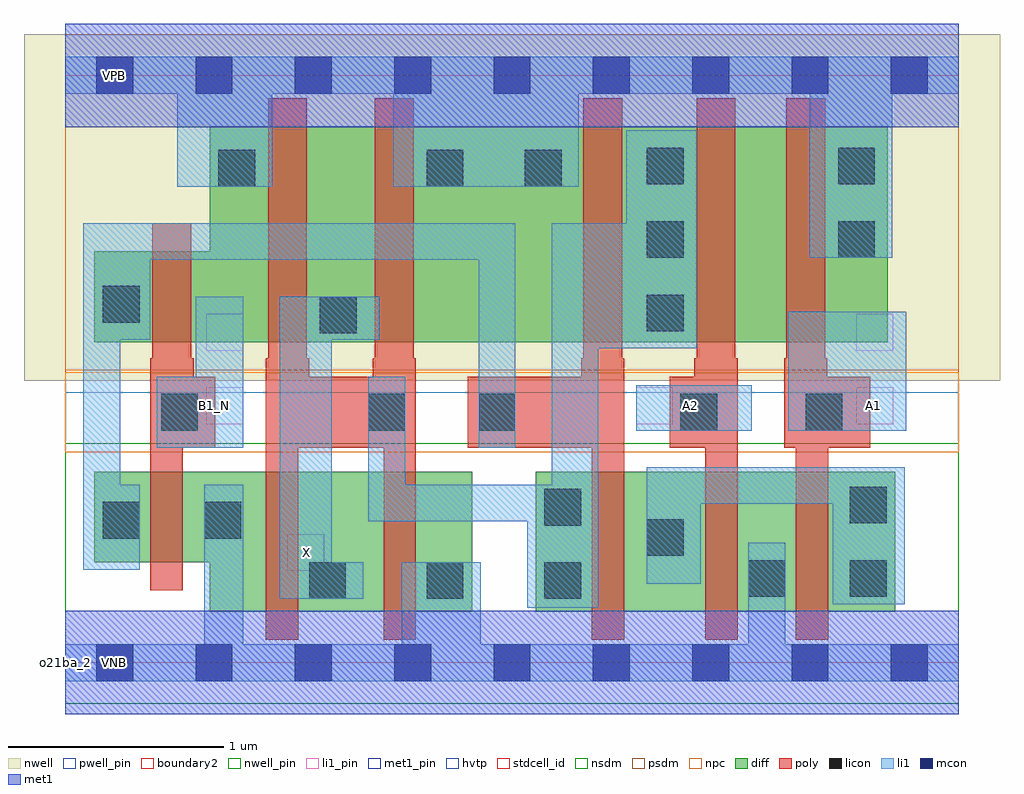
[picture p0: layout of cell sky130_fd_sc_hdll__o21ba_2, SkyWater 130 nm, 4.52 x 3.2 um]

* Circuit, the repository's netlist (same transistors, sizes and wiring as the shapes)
* Copyright 2020 The SkyWater PDK Authors
*
* Licensed under the Apache License, Version 2.0 (the "License");
* you may not use this file except in compliance with the License.
* You may obtain a copy of the License at
*
*     https://www.apache.org/licenses/LICENSE-2.0
*
* Unless required by applicable law or agreed to in writing, software
* distributed under the License is distributed on an "AS IS" BASIS,
* WITHOUT WARRANTIES OR CONDITIONS OF ANY KIND, either express or implied.
* See the License for the specific language governing permissions and
* limitations under the License.
*
* SPDX-License-Identifier: Apache-2.0

.SUBCKT sky130_fd_sc_hdll__o21ba_2 A1 A2 B1_N VGND VNB VPB VPWR X
*.PININFO A1:I A2:I B1_N:I VGND:I VNB:I VPB:I VPWR:I X:O
MMPA0 VPWR A1 sndA1 VPB sky130_fd_pr__pfet_01v8_hvt m=1 w=1.0U l=0.18U mult=1 sa=0.265
+ sb=0.265 sd=0.28 area=0.063 perim=1.14
MMPA1 sndA1 A2 y VPB sky130_fd_pr__pfet_01v8_hvt m=1 w=1.0U l=0.18U mult=1 sa=0.265
+ sb=0.265 sd=0.28 area=0.063 perim=1.14
MMPB0 VPWR B1 y VPB sky130_fd_pr__pfet_01v8_hvt m=1 w=1.0U l=0.18U mult=1 sa=0.265
+ sb=0.265 sd=0.28 area=0.063 perim=1.14
MMIPB1N B1 B1_N VPWR VPB sky130_fd_pr__pfet_01v8_hvt m=1 w=0.42U l=0.18U mult=1
+ sa=0.265 sb=0.265 sd=0.28 area=0.063 perim=1.14
MMIPX X y VPWR VPB sky130_fd_pr__pfet_01v8_hvt m=2 w=1.0U l=0.18U mult=1 sa=0.265
+ sb=0.265 sd=0.28 area=0.063 perim=1.14
MMNA0 pndA A1 VGND VNB sky130_fd_pr__nfet_01v8 m=1 w=0.65U l=0.15U mult=1 sa=0.265
+ sb=0.265 sd=0.28 area=0.063 perim=1.14
MMNA1 pndA A2 VGND VNB sky130_fd_pr__nfet_01v8 m=1 w=0.65U l=0.15U mult=1 sa=0.265
+ sb=0.265 sd=0.28 area=0.063 perim=1.14
MMNB0 y B1 pndA VNB sky130_fd_pr__nfet_01v8 m=1 w=0.65U l=0.15U mult=1 sa=0.265
+ sb=0.265 sd=0.28 area=0.063 perim=1.14
MMINB1N B1 B1_N VGND VNB sky130_fd_pr__nfet_01v8 m=1 w=0.42U l=0.15U mult=1 sa=0.265
+ sb=0.265 sd=0.28 area=0.063 perim=1.14
MMINX X y VGND VNB sky130_fd_pr__nfet_01v8 m=2 w=0.65U l=0.15U mult=1 sa=0.265
+ sb=0.265 sd=0.28 area=0.063 perim=1.14
.ENDS sky130_fd_sc_hdll__o21ba_2

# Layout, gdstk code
import gdstk
lib = gdstk.Library(unit=1e-6, precision=1e-09)
def R(c, l, rs):  # rectangles x0, y0, x1, y1
    for r in rs: c.add(gdstk.rectangle(r[:2], r[2:], *l))
def A(c, l, x, y, w, h, nx, ny, dx, dy):  # array of equal rectangles
    R(c, l, [(x+i*dx, y+j*dy, x+i*dx+w, y+j*dy+h) for i in range(nx) for j in range(ny)])
def P(c, l, *ps):  # polygons
    for p in ps: c.add(gdstk.Polygon(p, *l))
nwell_pin = (64, 16)
nwell = (64, 20)
diff = (65, 20)
poly = (66, 20)
licon = (66, 44)
li1_pin = (67, 16)
li1 = (67, 20)
mcon = (67, 44)
met1_pin = (68, 16)
met1 = (68, 20)
hvtp = (78, 44)
stdcell_id = (81, 4)
nsdm = (93, 44)
psdm = (94, 20)
npc = (95, 20)
pwell_pin = (122, 16)
boundary2 = (236, 0)

sky130_fd_sc_hdll__o21ba = lib.new_cell('sky130_fd_sc_hdll__o21ba_2')
R(sky130_fd_sc_hdll__o21ba, nwell_pin, [(0.145,2.635,0.315,2.805)])
R(sky130_fd_sc_hdll__o21ba, nwell, [(-0.19,1.305,4.33,2.91)])
R(sky130_fd_sc_hdll__o21ba, diff, [(2.18,0.235,3.845,0.885)])
P(sky130_fd_sc_hdll__o21ba, diff, [(3.81,2.485),(0.67,2.485),(0.67,1.905),(0.135,1.905),(0.135,1.485),(3.81,1.485)],
  [(1.885,0.885),(0.135,0.885),(0.135,0.465),(0.67,0.465),(0.67,0.235),(1.885,0.235)])
P(sky130_fd_sc_hdll__o21ba, poly, [(0.695,1.325),(0.595,1.325),(0.595,1.41),(0.585,1.41),(0.585,2.035),(0.405,2.035),(0.405,1.41),(0.395,1.41),(0.395,0.335),(0.545,0.335),(0.545,0.995),(0.695,0.995)],
  [(1.625,1.41),(1.615,1.41),(1.615,2.615),(1.435,2.615),(1.435,1.41),(1.425,1.41),(1.425,1.325),(1.13,1.325),(1.13,1.41),(1.12,1.41),(1.12,2.615),(0.94,2.615),(0.94,1.41),(0.93,1.41),(0.93,0.105),(1.08,0.105),(1.08,0.995),(1.475,0.995),(1.475,0.105),(1.625,0.105)],
  [(2.59,1.41),(2.58,1.41),(2.58,2.615),(2.4,2.615),(2.4,1.41),(2.39,1.41),(2.39,1.325),(1.865,1.325),(1.865,0.995),(2.44,0.995),(2.44,0.105),(2.59,0.105)],
  [(3.115,1.41),(3.105,1.41),(3.105,2.615),(2.925,2.615),(2.925,1.41),(2.915,1.41),(2.915,1.325),(2.8,1.325),(2.8,0.995),(2.965,0.995),(2.965,0.105),(3.115,0.105)],
  [(3.73,1.325),(3.53,1.325),(3.53,1.41),(3.52,1.41),(3.52,2.615),(3.34,2.615),(3.34,1.41),(3.33,1.41),(3.33,0.995),(3.385,0.995),(3.385,0.105),(3.535,0.105),(3.535,0.995),(3.73,0.995)])
A(sky130_fd_sc_hdll__o21ba, licon, 1.13, 0.295, 0.17, 0.17, 3, 1, 0.545, 0)
A(sky130_fd_sc_hdll__o21ba, licon, 2.695, 1.535, 0.17, 0.17, 1, 3, 0, 0.34)
R(sky130_fd_sc_hdll__o21ba, licon, [(3.165,0.305,3.335,0.475), (3.635,0.305,3.805,0.475), (2.695,0.495,2.865,0.665), (0.175,0.575,0.345,0.745), (0.645,0.575,0.815,0.745), (2.22,0.635,2.39,0.805), (3.635,0.645,3.805,0.815), (0.445,1.075,0.615,1.245), (1.405,1.075,1.575,1.245), (1.915,1.075,2.085,1.245), (2.85,1.075,3.02,1.245), (3.43,1.075,3.6,1.245), (1.18,1.525,1.35,1.695), (0.175,1.575,0.345,1.745), (3.58,1.875,3.75,2.045), (0.71,2.205,0.88,2.375), (1.675,2.205,1.845,2.375), (2.13,2.205,2.3,2.375), (3.58,2.215,3.75,2.385)])
R(sky130_fd_sc_hdll__o21ba, li1_pin, [(1.03,0.425,1.2,0.595), (0.655,1.105,0.825,1.275), (2.645,1.105,2.815,1.275), (3.665,1.105,3.835,1.275), (0.655,1.445,0.825,1.615), (3.665,1.445,3.835,1.615)])
R(sky130_fd_sc_hdll__o21ba, li1, [(2.645,1.075,3.18,1.285), (3.35,1.075,3.895,1.625)])
P(sky130_fd_sc_hdll__o21ba, li1, [(0.825,1.695),(0.605,1.695),(0.605,1.325),(0.425,1.325),(0.425,0.995),(0.825,0.995)],
  [(3.89,0.905),(2.695,0.905),(2.695,0.365),(2.945,0.365),(2.945,0.735),(3.555,0.735),(3.555,0.27),(3.89,0.27)],
  [(1.455,1.695),(0.995,1.695),(0.995,0.295),(1.38,0.295),(1.38,0.465),(1.235,0.465),(1.235,1.495),(1.455,1.495)],
  [(2.085,2.035),(0.085,2.035),(0.085,0.43),(0.345,0.43),(0.345,0.825),(0.255,0.825),(0.255,1.495),(0.395,1.495),(0.395,1.865),(1.915,1.865),(1.915,0.995),(2.085,0.995)],
  [(4.14,0.085),(3.335,0.085),(3.335,0.555),(3.165,0.555),(3.165,0.085),(1.925,0.085),(1.925,0.465),(1.56,0.465),(1.56,0.085),(0.825,0.085),(0.825,0.825),(0.645,0.825),(0.645,0.085),(0,0.085),(0,-0.085),(4.14,-0.085)],
  [(2.925,2.465),(2.6,2.465),(2.6,2.035),(2.255,2.035),(2.255,0.825),(1.575,0.825),(1.575,1.325),(1.405,1.325),(1.405,0.655),(2.14,0.655),(2.14,0.255),(2.47,0.255),(2.47,1.455),(2.925,1.455)],
  [(4.14,2.805),(0,2.805),(0,2.635),(0.52,2.635),(0.52,2.205),(0.96,2.205),(0.96,2.635),(1.52,2.635),(1.52,2.205),(2.38,2.205),(2.38,2.635),(3.45,2.635),(3.45,1.875),(3.83,1.875),(3.83,2.635),(4.14,2.635)])
A(sky130_fd_sc_hdll__o21ba, mcon, 0.145, -0.085, 0.17, 0.17, 9, 2, 0.46, 2.72)
R(sky130_fd_sc_hdll__o21ba, met1_pin, [(0.145,-0.085,0.315,0.085), (0.145,2.635,0.315,2.805)])
R(sky130_fd_sc_hdll__o21ba, met1, [(0,-0.24,4.14,0.24), (0,2.48,4.14,2.96)])
R(sky130_fd_sc_hdll__o21ba, hvtp, [(0,1.25,4.14,2.72)])
R(sky130_fd_sc_hdll__o21ba, stdcell_id, [(0,0,4.14,2.72)])
R(sky130_fd_sc_hdll__o21ba, nsdm, [(0,-0.19,4.14,1.015)])
R(sky130_fd_sc_hdll__o21ba, psdm, [(0,1.355,4.14,2.91)])
R(sky130_fd_sc_hdll__o21ba, npc, [(0,0.975,4.14,1.345)])
R(sky130_fd_sc_hdll__o21ba, pwell_pin, [(0.145,-0.085,0.315,0.085)])
R(sky130_fd_sc_hdll__o21ba, boundary2, [(0,0,4.14,2.72)])
sky130_fd_sc_hdll__o21ba.add(gdstk.Label('B1_N', (0.69,1.19), layer=67, texttype=5))
sky130_fd_sc_hdll__o21ba.add(gdstk.Label('A1', (3.745,1.19), layer=67, texttype=5))
sky130_fd_sc_hdll__o21ba.add(gdstk.Label('X', (1.12,0.51), layer=67, texttype=5))
sky130_fd_sc_hdll__o21ba.add(gdstk.Label('A2', (2.895,1.19), layer=67, texttype=5))
sky130_fd_sc_hdll__o21ba.add(gdstk.Label('VNB', (0.23,0), layer=64, texttype=59))
sky130_fd_sc_hdll__o21ba.add(gdstk.Label('VPB', (0.23,2.72), layer=64, texttype=5))
sky130_fd_sc_hdll__o21ba.add(gdstk.Label('VGND', (0.23,0), layer=68, texttype=5))
sky130_fd_sc_hdll__o21ba.add(gdstk.Label('VPWR', (0.23,2.72), layer=68, texttype=5))
sky130_fd_sc_hdll__o21ba.add(gdstk.Label('o21ba_2', (0,0), layer=83, texttype=44))

lib.write_gds('sky130_fd_sc_hdll__o21ba_2.gds')
